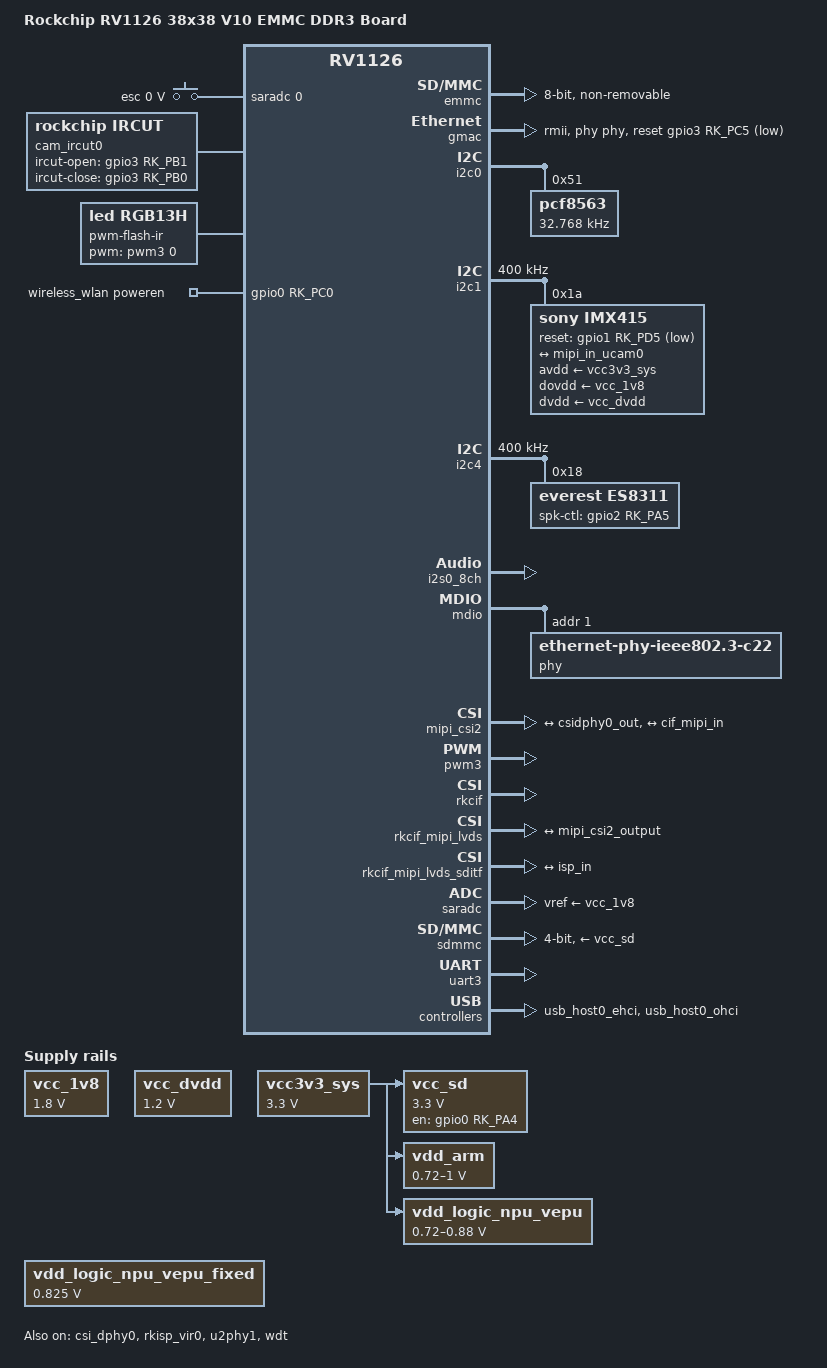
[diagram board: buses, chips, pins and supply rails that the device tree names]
// SPDX-License-Identifier: (GPL-2.0+ OR MIT)
/*
 * Copyright (c) 2020 Rockchip Electronics Co., Ltd.
 */

/dts-v1/;
#include "rv1126.dtsi"
#include "rv1126-ipc.dtsi"
#include <dt-bindings/input/input.h>

/ {
	model = "Rockchip RV1126 38x38 V10 EMMC DDR3 Board";
	compatible = "rockchip,rv1126-38x38-v10-emmc", "rockchip,rv1126";

	chosen {
		bootargs = "earlycon=uart8250,mmio32,0xff570000 console=ttyFIQ0 root=PARTUUID=614e0000-0000 rootfstype=squashfs rootwait snd_aloop.index=7";
	};

	/delete-node/ vdd-npu;
	/delete-node/ vdd-vepu;

	vcc_1v8: vcc-1v8 {
		compatible = "regulator-fixed";
		regulator-name = "vcc_1v8";
		regulator-always-on;
		regulator-boot-on;
		regulator-min-microvolt = <1800000>;
		regulator-max-microvolt = <1800000>;
	};

	vcc_dvdd: vcc-dvdd {
		compatible = "regulator-fixed";
		regulator-name = "vcc_dvdd";
		regulator-always-on;
		regulator-boot-on;
		regulator-min-microvolt = <1200000>;
		regulator-max-microvolt = <1200000>;
	};

	vcc3v3_sys: vcc33sys {
		compatible = "regulator-fixed";
		regulator-name = "vcc3v3_sys";
		regulator-always-on;
		regulator-boot-on;
		regulator-min-microvolt = <3300000>;
		regulator-max-microvolt = <3300000>;
	};

	vcc_sd: vcc-sd {
		compatible = "regulator-fixed";
		gpio = <&gpio0 RK_PA4 GPIO_ACTIVE_HIGH>;
		pinctrl-0 = <&sdmmc_pwr>;
		pinctrl-names = "default";
		regulator-name = "vcc_sd";
		regulator-min-microvolt = <3300000>;
		regulator-max-microvolt = <3300000>;
		startup-delay-us = <100000>;
		vin-supply = <&vcc3v3_sys>;
		enable-active-high;
	};

	vdd_arm: vdd-arm {
		compatible = "pwm-regulator";
		pwms = <&pwm0 0 5000 1>;
		regulator-name = "vdd_arm";
		regulator-min-microvolt = <720000>;
		regulator-max-microvolt = <1000000>;
		regulator-init-microvolt = <825000>;
		regulator-always-on;
		regulator-boot-on;
		regulator-settling-time-up-us = <250>;
		pwm-supply = <&vcc3v3_sys>;
		status = "okay";
	};

	/*
	 * pwm1 is reserved as voltage adjustment in hardware
	 * use fixed regulator to avoid voltage adjustment by software
	 */
	vdd_logic_npu_vepu: vdd-logic-npu-vepu {
		compatible = "pwm-regulator";
		pwms = <&pwm1 0 5000 1>;
		regulator-name = "vdd_logic_npu_vepu";
		regulator-min-microvolt = <720000>;
		regulator-max-microvolt = <880000>;
		regulator-init-microvolt = <825000>;
		regulator-always-on;
		regulator-boot-on;
		regulator-settling-time-up-us = <250>;
		pwm-supply = <&vcc3v3_sys>;
		status = "okay";
	};

	vdd_logic_npu_vepu_fixed: vdd-logic-npu-vepu-fixed {
		compatible = "regulator-fixed";
		regulator-name = "vdd_logic_npu_vepu-fixed";
		regulator-always-on;
		regulator-boot-on;
		regulator-min-microvolt = <825000>;
		regulator-max-microvolt = <825000>;
	};

	adc-keys {
		compatible = "adc-keys";
		io-channels = <&saradc 0>;
		io-channel-names = "buttons";
		poll-interval = <100>;
		keyup-threshold-microvolt = <1800000>;

		esc-key {
			label = "esc";
			linux,code = <KEY_ESC>;
			press-threshold-microvolt = <0>;
		};
	};

	cam_ircut0: cam_ircut {
		status = "okay";
		compatible = "rockchip,ircut";
		ircut-open-gpios = <&gpio3 RK_PB1 GPIO_ACTIVE_HIGH>;
		ircut-close-gpios  = <&gpio3 RK_PB0 GPIO_ACTIVE_HIGH>;
		rockchip,camera-module-index = <1>;
		rockchip,camera-module-facing = "front";
	};

	flash_ir: flash-ir {
		status = "okay";
		compatible = "led,rgb13h";
		label = "pwm-flash-ir";
		led-max-microamp = <20000>;
		flash-max-microamp = <20000>;
		flash-max-timeout-us = <1000000>;
		pwms=<&pwm3 0 25000 0>;
		rockchip,camera-module-index = <1>;
		rockchip,camera-module-facing = "front";
	};

	i2s0_sound: i2s0-sound {
		status = "okay";
		compatible = "simple-audio-card";
		simple-audio-card,format = "i2s";
		simple-audio-card,mclk-fs = <256>;
		simple-audio-card,name = "rockchip,i2s0-sound";
		simple-audio-card,cpu {
			sound-dai = <&i2s0_8ch>;
		};
		simple-audio-card,codec {
			sound-dai = <&es8311>;
		};
	};

	wireless_wlan: wireless-wlan {
		compatible = "wlan-platdata";
		rockchip,grf = <&grf>;
		wifi_chip_type = "USB-WiFi";
		WIFI,poweren_gpio = <&gpio0 RK_PC0 GPIO_ACTIVE_HIGH>;
		status = "okay";
	};
};

&csi_dphy0 {
	status = "okay";

	ports {
		#address-cells = <1>;
		#size-cells = <0>;
		port@0 {
			reg = <0>;
			#address-cells = <1>;
			#size-cells = <0>;

			mipi_in_ucam0: endpoint@1 {
				reg = <1>;
				remote-endpoint = <&ucam_out0>;
				data-lanes = <1 2 3 4>;
			};
		};
		port@1 {
			reg = <1>;
			#address-cells = <1>;
			#size-cells = <0>;

			csidphy0_out: endpoint@0 {
				reg = <0>;
				remote-endpoint = <&mipi_csi2_input>;
			};
		};
	};
};

&emmc {
	bus-width = <8>;
	cap-mmc-highspeed;
	non-removable;
	mmc-hs200-1_8v;
	rockchip,default-sample-phase = <90>;
	no-sdio;
	no-sd;
	/delete-property/ pinctrl-names;
	/delete-property/ pinctrl-0;
	status = "okay";
};

&gmac {
	phy-mode = "rmii";
	clock_in_out = "output";

	snps,reset-gpio = <&gpio3 RK_PC5 GPIO_ACTIVE_LOW>;
	snps,reset-active-low;
	snps,reset-delays-us = <0 50000 10000>;

	assigned-clocks = <&cru CLK_GMAC_SRC_M0>, <&cru CLK_GMAC_SRC>, <&cru CLK_GMAC_TX_RX>;
	assigned-clock-rates = <0>, <50000000>;
	assigned-clock-parents = <&cru CLK_GMAC_RGMII_M0>, <&cru CLK_GMAC_SRC_M0>, <&cru RMII_MODE_CLK>;

	pinctrl-names = "default";
	pinctrl-0 = <&rmiim0_miim &rgmiim0_rxer &rmiim0_bus2 &rgmiim0_mclkinout>;

	phy-handle = <&phy>;
	status = "okay";
};

&i2c0 {
	status = "okay";

	pcf8563: pcf8563@51 {
		compatible = "pcf8563";
		reg = <0x51>;
		#clock-cells = <0>;
		clock-frequency = <32768>;
		clock-output-names = "xin32k";
	};
};

&i2c1 {
	status = "okay";
	clock-frequency = <400000>;

	imx415: imx415@1a {
		   compatible = "sony,imx415";
		   reg = <0x1a>;
		   clocks = <&cru CLK_MIPICSI_OUT>;
		   clock-names = "xvclk";
		   power-domains = <&power RV1126_PD_VI>;
		   pinctrl-names = "rockchip,camera_default";
		   pinctrl-0 = <&mipicsi_clk0>;
		   avdd-supply = <&vcc3v3_sys>;
		   dovdd-supply = <&vcc_1v8>;
		   dvdd-supply = <&vcc_dvdd>;
		   /* reset is always pulled high in v10 */
		   reset-gpios = <&gpio1 RK_PD5 GPIO_ACTIVE_LOW>;
		   rockchip,camera-module-index = <1>;
		   rockchip,camera-module-facing = "front";
		   rockchip,camera-module-name = "YT10092";
		   rockchip,camera-module-lens-name = "IR0147-50IRC-8M-F20";
		   ir-cut = <&cam_ircut0>;
		   flash-leds = <&flash_ir>;
		   port {
				   ucam_out0: endpoint {
						   remote-endpoint = <&mipi_in_ucam0>;
						   data-lanes = <1 2 3 4>;
				   };
		   };
	};

};

&i2c4 {
	status = "okay";
	clock-frequency = <400000>;
	pinctrl-0 = <&i2c4m1_xfer>;

	es8311: es8311@18 {
		compatible = "everest,es8311";
		reg = <0x18>;
		clocks = <&cru MCLK_I2S0_TX_OUT2IO>;
		clock-names = "mclk";
		adc-volume = <0xbf>;  /* 0dB */
		dac-volume = <0xbf>;  /* 0dB */
		aec-mode = "dac left, adc right";
		pinctrl-names = "default";
		pinctrl-0 = <&i2s0m0_mclk &spk_ctl>;
		assigned-clocks = <&cru MCLK_I2S0_TX_OUT2IO>;
		assigned-clock-parents = <&cru MCLK_I2S0_TX>;
		spk-ctl-gpios = <&gpio2 RK_PA5 GPIO_ACTIVE_HIGH>;
		#sound-dai-cells = <0>;
	};
};

&i2s0_8ch {
	status = "okay";
	rockchip,clk-trcm = <1>;
	#sound-dai-cells = <0>;
	pinctrl-0 = <&i2s0m0_sclk_tx
		     &i2s0m0_lrck_tx
		     &i2s0m0_sdi0
		     &i2s0m0_sdo0>;
};

&isp_reserved {
	size = <0x20000000>;
};

&mdio {
	phy: phy@1 {
		compatible = "ethernet-phy-ieee802.3-c22";
		reg = <0x1>;
	};
};

&mipi_csi2 {
	status = "okay";

	ports {
		#address-cells = <1>;
		#size-cells = <0>;

		port@0 {
			reg = <0>;
			#address-cells = <1>;
			#size-cells = <0>;

			mipi_csi2_input: endpoint@1 {
				reg = <1>;
				remote-endpoint = <&csidphy0_out>;
				data-lanes = <1 2 3 4>;
			};
		};

		port@1 {
			reg = <1>;
			#address-cells = <1>;
			#size-cells = <0>;

			mipi_csi2_output: endpoint@0 {
				reg = <0>;
				remote-endpoint = <&cif_mipi_in>;
				data-lanes = <1 2 3 4>;
			};
		};
	};
};

&npu {
	npu-supply = <&vdd_logic_npu_vepu_fixed>;
};

&npu_opp_table {
	/delete-node/ opp-800000000;
	/delete-node/ opp-934000000;
};

&pinctrl {
	es8311 {
		spk_ctl: spk-ctl {
			rockchip,pins = <2 RK_PA5 RK_FUNC_GPIO &pcfg_pull_none>;
		};
	};

	sdmmc-pwr {
		/omit-if-no-ref/
		sdmmc_pwr: sdmmc-pwr {
			rockchip,pins = <0 RK_PA4 RK_FUNC_GPIO &pcfg_pull_none>;
		};
	};
};

&pmu_io_domains {
	status = "okay";

	pmuio0-supply = <&vcc3v3_sys>;
	pmuio1-supply = <&vcc3v3_sys>;
	vccio2-supply = <&vcc3v3_sys>;
	vccio3-supply = <&vcc3v3_sys>;
	vccio4-supply = <&vcc_1v8>;
	vccio5-supply = <&vcc3v3_sys>;
	vccio6-supply = <&vcc3v3_sys>;
	vccio7-supply = <&vcc3v3_sys>;
};

&pwm3 {
	status = "okay";
	pinctrl-names = "active";
	pinctrl-0 = <&pwm3m0_pins_pull_down>;
};

&rkcif {
	status = "okay";
};

&rkcif_mmu {
	status = "disabled";
};

&rkcif_mipi_lvds {
	status = "okay";

	port {
		/* MIPI CSI-2 endpoint */
		cif_mipi_in: endpoint {
			remote-endpoint = <&mipi_csi2_output>;
			data-lanes = <1 2 3 4>;
		};
	};
};

&rkcif_mipi_lvds_sditf {
	status = "okay";

	port {
		/* MIPI CSI-2 endpoint */
		mipi_lvds_sditf: endpoint {
			remote-endpoint = <&isp_in>;
			data-lanes = <1 2 3 4>;
		};
	};
};

&rkisp_vir0 {
	status = "okay";

	ports {
		port@0 {
			reg = <0>;
			#address-cells = <1>;
			#size-cells = <0>;

			isp_in: endpoint@0 {
				reg = <0>;
				remote-endpoint = <&mipi_lvds_sditf>;
			};
		};
	};
};

&rkvenc {
	venc-supply = <&vdd_logic_npu_vepu_fixed>;
};

&rockchip_suspend {
	status = "okay";
	rockchip,sleep-debug-en = <1>;
	rockchip,sleep-mode-config = <
		(0
		| RKPM_SLP_ARMOFF
		| RKPM_SLP_PMU_PMUALIVE_32K
		| RKPM_SLP_PMU_DIS_OSC
		)
	>;
};

&saradc {
	status = "okay";
	vref-supply = <&vcc_1v8>;
};

&sdmmc0_bus4 {
	rockchip,pins =
		/* sdmmc0_d0 */
		<1 RK_PA4 1 &pcfg_pull_up_drv_level_0>,
		/* sdmmc0_d1 */
		<1 RK_PA5 1 &pcfg_pull_up_drv_level_0>,
		/* sdmmc0_d2 */
		<1 RK_PA6 1 &pcfg_pull_up_drv_level_0>,
		/* sdmmc0_d3 */
		<1 RK_PA7 1 &pcfg_pull_up_drv_level_0>;
};

&sdmmc0_clk {
	rockchip,pins =
		/* sdmmc0_clk */
		<1 RK_PB0 1 &pcfg_pull_up_drv_level_3>;
};

&sdmmc0_cmd {
	rockchip,pins =
		/* sdmmc0_cmd */
		<1 RK_PB1 1 &pcfg_pull_up_drv_level_0>;
};

&sdmmc {
	bus-width = <4>;
	cap-mmc-highspeed;
	cap-sd-highspeed;
	card-detect-delay = <200>;
	rockchip,default-sample-phase = <90>;
	no-sdio;
	no-mmc;
	status = "okay";
	vmmc-supply = <&vcc_sd>;
};

&soc_crit {
	/* millicelsius */
	temperature = <125000>;
};

&u2phy1 {
	status = "okay";
	u2phy_host: host-port {
		status = "okay";
	};
};

&uart3 {
	wakeup-source;
	pinctrl-names = "default";
	pinctrl-0 = <&uart3m2_xfer &uart3m2_ctsn &uart3m2_rtsn>;
	status = "okay";
};

&usb_host0_ehci {
	status = "okay";
};

&usb_host0_ohci {
	status = "okay";
};

&wdt {
	status = "okay";
};
